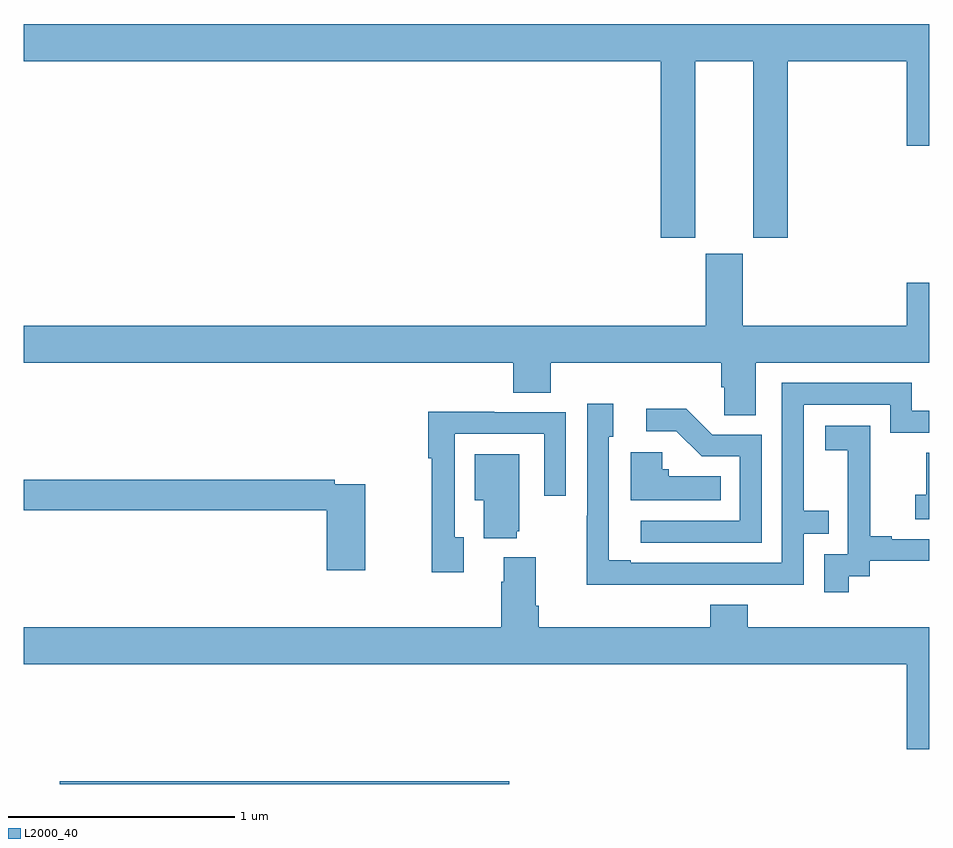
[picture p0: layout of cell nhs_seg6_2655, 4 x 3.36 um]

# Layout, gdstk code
import gdstk
lib = gdstk.Library(unit=1e-6, precision=1e-09)
def R(c, l, rs):  # rectangles x0, y0, x1, y1
    for r in rs: c.add(gdstk.rectangle(r[:2], r[2:], *l))
def P(c, l, *ps):  # polygons
    for p in ps: c.add(gdstk.Polygon(p, *l))
L2000_40 = (2000, 40)

nhs_seg6_2655 = lib.new_cell('nhs_seg6_2655')
R(nhs_seg6_2655, L2000_40, [(269.159,921.5,271.144,921.512)])
P(nhs_seg6_2655, L2000_40, [(271.966,924.692),(272.222,924.692),(272.222,923.913),(272.375,923.913),(272.375,924.692),(272.9,924.692),(272.9,924.318),(273,924.318),(273,924.856),(269,924.856),(269,924.692),(271.814,924.692),(271.814,923.913),(271.966,923.913)],
  [(272.233,923.36),(273,923.36),(273,923.713),(272.9,923.713),(272.9,923.524),(272.176,923.524),(272.176,923.841),(272.012,923.841),(272.012,923.524),(269,923.524),(269,923.36),(271.163,923.36),(271.163,923.227),(271.328,923.227),(271.328,923.36),(272.081,923.36),(272.081,923.251),(272.094,923.251),(272.094,923.128),(272.233,923.128)],
  [(271.949,922.38),(272.445,922.38),(272.445,922.605),(272.555,922.605),(272.555,922.706),(272.445,922.706),(272.445,923.175),(272.826,923.175),(272.826,923.052),(273,923.052),(273,923.148),(272.923,923.148),(272.923,923.271),(272.349,923.271),(272.349,922.476),(271.681,922.476),(271.681,922.489),(271.584,922.489),(271.584,923.034),(271.603,923.034),(271.603,923.179),(271.488,923.179),(271.488,922.685),(271.486,922.685),(271.486,922.379),(271.949,922.379)],
  [(272.259,923.043),(272.04,923.043),(271.927,923.156),(271.749,923.156),(271.749,923.058),(271.883,923.058),(271.994,922.947),(272.163,922.947),(272.163,922.662),(271.725,922.662),(271.725,922.566),(272.259,922.566)],
  [(270.943,922.59),(270.903,922.59),(270.903,923.046),(271.299,923.046),(271.299,922.773),(271.395,922.773),(271.395,923.142),(271.079,923.142),(271.079,923.144),(270.787,923.144),(270.787,922.939),(270.802,922.939),(270.802,922.434),(270.943,922.434)],
  [(272.644,922.417),(272.736,922.417),(272.736,922.485),(273,922.485),(273,922.581),(272.833,922.581),(272.833,922.594),(272.738,922.594),(272.738,922.877),(272.739,922.877),(272.739,923.083),(272.541,923.083),(272.541,922.973),(272.639,922.973),(272.639,922.745),(272.64,922.745),(272.64,922.515),(272.535,922.515),(272.535,922.347),(272.644,922.347)],
  [(272.078,922.858),(271.848,922.858),(271.848,922.89),(271.821,922.89),(271.821,922.966),(271.682,922.966),(271.682,922.754),(272.078,922.754)],
  [(273,922.962),(272.986,922.962),(272.986,922.777),(272.937,922.777),(272.937,922.668),(273,922.668)],
  [(271.178,922.617),(271.189,922.617),(271.189,922.957),(270.992,922.957),(270.992,922.754),(271.031,922.754),(271.031,922.586),(271.178,922.586)],
  [(270.508,922.824),(270.374,922.824),(270.374,922.844),(269,922.844),(269,922.708),(270.338,922.708),(270.338,922.443),(270.508,922.443)],
  [(273,922.192),(272.198,922.192),(272.198,922.291),(272.033,922.291),(272.033,922.192),(271.274,922.192),(271.274,922.288),(271.261,922.288),(271.261,922.501),(271.121,922.501),(271.121,922.394),(271.109,922.394),(271.109,922.192),(269,922.192),(269,922.028),(272.9,922.028),(272.9,921.654),(273,921.654)])

lib.write_gds('nhs_seg6_2655.gds')
